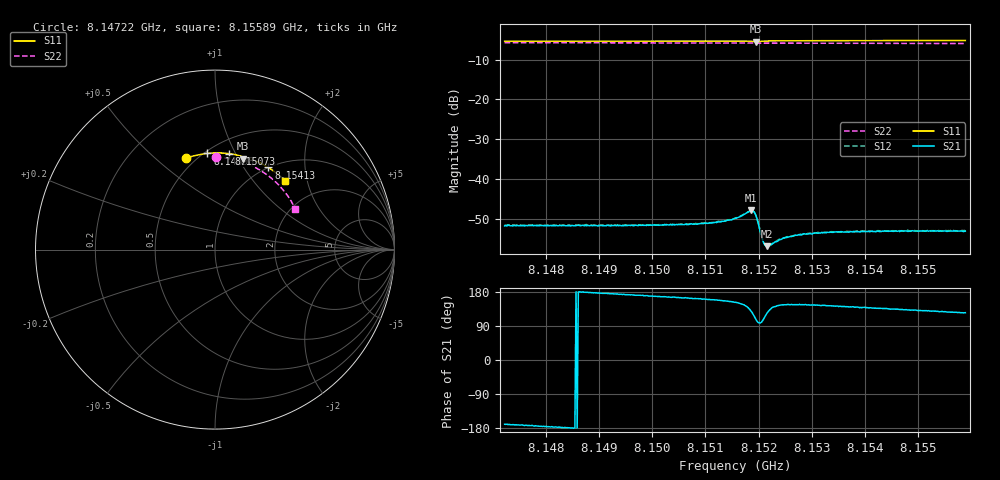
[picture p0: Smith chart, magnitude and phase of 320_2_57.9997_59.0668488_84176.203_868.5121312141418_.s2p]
#  HZ  S  RI  R  50.00
! Rohde & Schwarz Vector Network Analyzer
! Rohde-Schwarz,ZNB20-2Port,1311601062101988,3.16
! Created: UTC 3/21/2024, 1:04:40 AM
! freq[Hz]  re:S11  im:S11  re:S21  im:S21  re:S12  im:S12  re:S22  im:S22
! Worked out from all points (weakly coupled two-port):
!   401 points, 8.14722 GHz to 8.15589 GHz, reference 50 ohm
!   highest |S21| = -47.79 dB at 8.15186 GHz (marker M1); lowest = -56.7 dB at 8.15216 GHz (marker M2)
!   lowest |S11| = -5.5 dB at 8.15195 GHz (marker M3), VSWR 3.26, Z = 37.2 + j52.4 ohm
!   |S11| at or under -10 dB: nowhere
!   |S22| runs from -6.0 to -5.8 dB; largest |S21 - S12| = 0.00012
!   S11 on the Smith chart (normalised r, x): 8.14722 GHz: 0.44, +0.63; 8.14898 GHz: 0.52, +0.78; 8.15073 GHz: 0.62, +0.94; 8.15413 GHz: 1.00, +1.30; 8.15589 GHz: 1.36, +1.48
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8.147224e9  -0.1621 0.5092  -0.00257 -0.000475  -0.00266 -0.00043  0.00686 0.5137
8.148675e9  -0.0637 0.5332  -0.00265 4.06e-05  -0.00266 7.8e-05  0.101 0.5022
8.148978e9  -0.0428 0.536  -0.00261 0.000157  -0.00264 0.000166  0.1203 0.4975
8.150127e9  0.0372 0.5382  -0.00259 0.000566  -0.00264 0.00064  0.1905 0.4736
8.150733e9  0.0795 0.5345  -0.00265 0.000813  -0.00263 0.000863  0.2259 0.4569
8.151167e9  0.1097 0.5296  -0.00267 0.00104  -0.0027 0.00109  0.2502 0.4433
8.151557e9  0.1376 0.523  -0.00287 0.00152  -0.00289 0.00152  0.2713 0.43
8.15186e9  0.1582 0.5103  -0.00256 0.00318  -0.00251 0.00319  0.287 0.4185
8.151903e9  0.1586 0.5074  -0.00194 0.00348  -0.00192 0.00354  0.2894 0.417
8.151947e9  0.1575 0.506  -0.00109 0.00339  -0.00106 0.00344  0.2914 0.4153
8.15199e9  0.1569 0.5074  -0.000469 0.00284  -0.000424 0.00287  0.2934 0.414
8.152077e9  0.1614 0.5112  -0.000417 0.00168  -0.000413 0.0017  0.2979 0.4108
8.15212e9  0.1649 0.512  -0.000627 0.00136  -0.000629 0.00138  0.3002 0.4092
8.152163e9  0.1685 0.5122  -0.000832 0.00119  -0.000823 0.00125  0.3024 0.4074
8.152228e9  0.1738 0.5116  -0.00106 0.00108  -0.00104 0.00108  0.3057 0.4049
8.152402e9  0.1868 0.5088  -0.00143 0.00101  -0.00144 0.00105  0.3144 0.398
8.152553e9  0.1976 0.5054  -0.00158 0.00103  -0.00158 0.00109  0.3219 0.3917
8.153008e9  0.2277 0.4936  -0.00169 0.00119  -0.00172 0.00122  0.3432 0.3723
8.153507e9  0.2592 0.4789  -0.00171 0.00139  -0.00171 0.00137  0.3652 0.3496
8.154135e9  0.2971 0.4575  -0.00164 0.00153  -0.00164 0.00151  0.3906 0.3192
8.15446e9  0.3158 0.4453  -0.00158 0.0016  -0.0016 0.00162  0.4028 0.3028
8.15589e9  0.3919 0.3827  -0.00128 0.00184  -0.00127 0.00188  0.4477 0.2257
